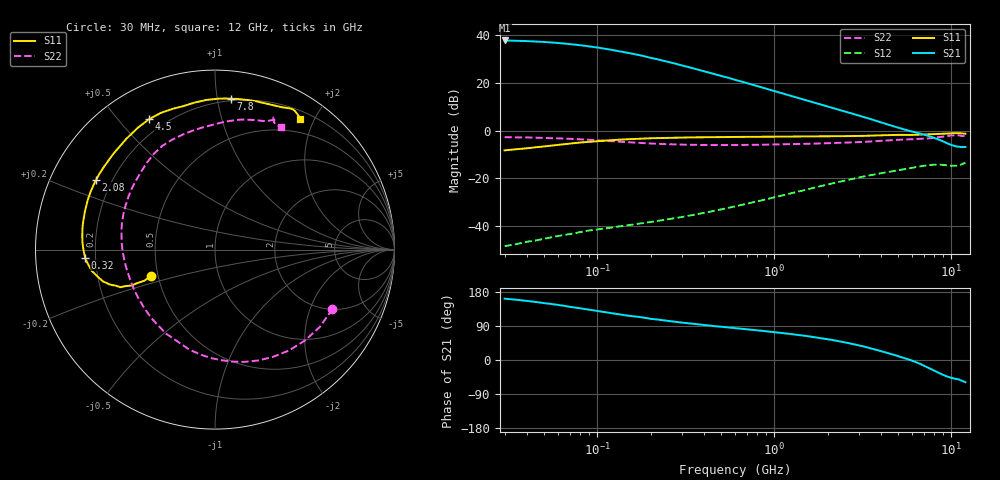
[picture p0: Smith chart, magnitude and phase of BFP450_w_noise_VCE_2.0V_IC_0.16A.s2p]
! (c) 2015  Infineon Technologies AG, Munich
! Infineon Technologies  Discrete & RF Semiconductors
! BFP450
! VCE =  2.0 V,  IC = 0.16 A
! Common Emitter S-Parameters:  Nov 2015
# GHz  S  MA  R  50
!  f  S11  S21  S12  S22
! GHz  MAG  ANG  MAG  ANG  MAG  ANG  MAG  ANG
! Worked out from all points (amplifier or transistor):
!   239 points, 30 MHz to 12 GHz, reference 50 ohm
!   highest |S21| = 37.9 dB at 30 MHz (marker M1)
!   |S21| within 3 dB of that: start of sweep to 100.9 MHz
!   unconditionally stable (mu >= 1): 680.5 MHz to end of sweep
!   at 300 MHz: K = 0.82, MSG = 31.8 dB, |S12| = -36.2 dB
!   at 1.88 GHz: K = 1.11, MAG = 14.9 dB, |S12| = -23.0 dB
!   at 12 GHz: K = 1.08, MAG = 1.5 dB, |S12| = -13.4 dB
!   lowest NFmin = 2.68 dB at 450 MHz
!   S11 on the Smith chart (normalised r, x): 30 MHz: 0.45, -0.16; 320 MHz: 0.16, -0.03; 2.08 GHz: 0.14, +0.27; 4.5 GHz: 0.14, +0.61; 7.8 GHz: 0.19, +1.10; 12 GHz: 0.31, +1.81
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0.03  0.3884 -157.5  78.4 161.9  0.0038 82.3  0.7333 -26.8
0.04  0.4295 -156.2  76.03 156.0  0.0047 76.2  0.7258 -36.4
0.05  0.4709 -156.7  73.01 150.2  0.0054 74.2  0.7123 -45.5
0.06  0.5059 -156.7  69.45 145.4  0.0062 71.1  0.6969 -53.8
0.07  0.5373 -157.8  65.84 140.4  0.0068 67.1  0.6794 -61.7
0.085  0.5761 -159.1  60.66 134.7  0.0078 63.7  0.6536 -72.1
0.095  0.5946 -160.4  57.35 131.1  0.0083 62.5  0.638 -78.3
0.11  0.6213 -161.9  52.87 126.4  0.009 61.2  0.6172 -86.8
0.13  0.6468 -163.9  47.42 121.2  0.0098 59.6  0.5933 -96.5
0.15  0.6654 -166.3  42.79 116.8  0.0105 59.0  0.5741 -104.7
0.2  0.6967 -170.2  33.86 108.7  0.0122 59.0  0.5416 -120.3
0.24  0.7088 -172.8  29.06 104.3  0.0136 59.4  0.5252 -129.0
0.32  0.7249 -176.5  22.19 97.5  0.0162 61.1  0.5095 -142.0
0.44  0.7346 179.3  16.15 90.3  0.0203 63.1  0.5022 -154.3
0.6  0.7424 175.0  11.71 84.0  0.0259 64.4  0.5029 -164.5
0.8  0.7479 170.8  8.639 78.1  0.033 64.6  0.5082 -173.0
1  0.7513 167.1  6.796 73.5  0.0402 63.7  0.5152 -179.4
1.64  0.7632 156.4  4.006 61.2  0.0626 58.3  0.5362 165.8
2.08  0.7683 149.5  3.105 53.6  0.0772 53.2  0.5494 157.3
4.5  0.8143 116.7  1.308 16.5  0.1386 24.9  0.6335 122.4
7.8  0.8456 83.9  0.734 -25.5  0.1933 -11.0  0.7055 87.9
12  0.8676 56.8  0.457 -58.5  0.2143 -40.7  0.7767 61.8
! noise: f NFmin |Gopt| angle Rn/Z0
0.45  2.68  0.71  -172  0.07
0.9  2.73  0.73  -165  0.1
1.9  2.84  0.73  -148  0.24
2.4  2.91  0.73  -138  0.37
